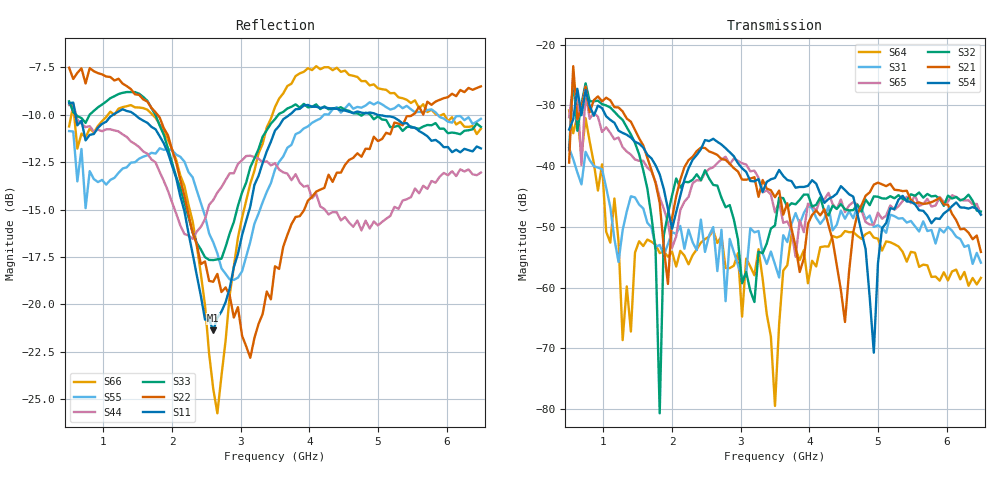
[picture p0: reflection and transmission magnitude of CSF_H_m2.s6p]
!Keysight Technologies,M9804A,MY58100912,A.14.10.03
!Date: Thursday, April 27, 2023 10:28:33
!Correction: S11(C  6-Port  )
!S12(C  6-Port  )
!S13(C  6-Port  )
!S14(C  6-Port  )
!S15(C  6-Port  )
!S16(C  6-Port  )
!S21(C  6-Port  )
!S22(C  6-Port  )
!S23(C  6-Port  )
!S24(C  6-Port  )
!S25(C  6-Port  )
!S26(C  6-Port  )
!S31(C  6-Port  )
!S32(C  6-Port  )
!S33(C  6-Port  )
!S34(C  6-Port  )
!S35(C  6-Port  )
!S36(C  6-Port  )
!S41(C  6-Port  )
!S42(C  6-Port  )
!S43(C  6-Port  )
!S44(C  6-Port  )
!S45(C  6-Port  )
!S46(C  6-Port  )
!S51(C  6-Port  )
!S52(C  6-Port  )
!S53(C  6-Port  )
!S54(C  6-Port  )
!S55(C  6-Port  )
!S56(C  6-Port  )
!S61(C  6-Port  )
!S62(C  6-Port  )
!S63(C  6-Port  )
!S64(C  6-Port  )
!S65(C  6-Port  )
!S66(C  6-Port  )
!S6P File: Measurement: :
# Hz S  RI  R 50
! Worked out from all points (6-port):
!   101 points, 500 MHz to 6.5 GHz, reference 50 ohm
!   strongest paths, dB at 500 MHz, 2 GHz, 3.5 GHz, 5 GHz, 6.5 GHz:
!     S54: -34.0, -50.3, -41.9, -56.0, -48.0
!     S21: -39.4, -48.5, -45.1, -42.7, -54.1
!     S32: -37.4, -44.8, -49.7, -45.0, -47.5
!     S65: -31.9, -53.4, -47.6, -47.6, -47.9
!     S31: -37.0, -50.9, -56.2, -49.7, -55.9
!     S64: -30.8, -54.1, -79.5, -51.9, -58.4
!   lowest |S11| = -21.4 dB at 2.6 GHz (marker M1), VSWR 1.19, Z = 42.4 + j2.31 ohm
!   |S11| at or under -10 dB: 591.9 MHz to 1.142 GHz (549.9 MHz wide, 63.4 % of centre); 1.459 GHz to 3.713 GHz (2.255 GHz wide, 87.2 % of centre); 4.99 GHz to end of sweep
